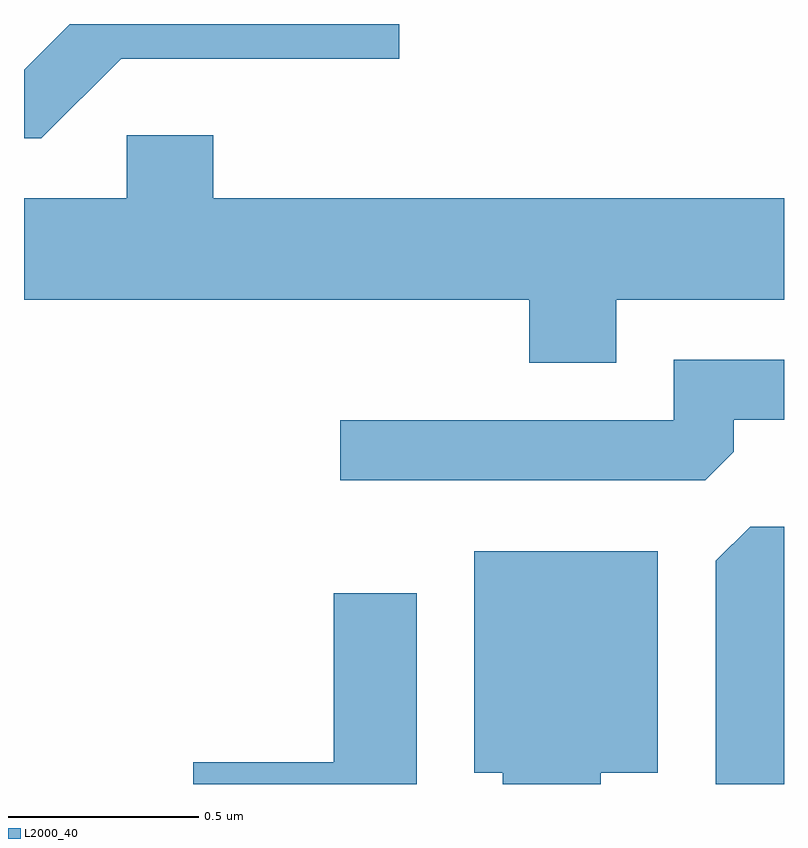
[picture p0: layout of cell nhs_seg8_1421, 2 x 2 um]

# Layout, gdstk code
import gdstk
lib = gdstk.Library(unit=1e-6, precision=1e-09)
def P(c, l, *ps):  # polygons
    for p in ps: c.add(gdstk.Polygon(p, *l))
L2000_40 = (2000, 40)

nhs_seg8_1421 = lib.new_cell('nhs_seg8_1421')
P(nhs_seg8_1421, L2000_40, [(195.867,1859.251),(196.599,1859.251),(196.599,1859.342),(195.732,1859.342),(195.611,1859.221),(195.611,1859.041),(195.657,1859.041)],
  [(197.169,1858.616),(197.611,1858.616),(197.611,1858.884),(196.109,1858.884),(196.109,1859.049),(195.881,1859.049),(195.881,1858.884),(195.611,1858.884),(195.611,1858.616),(196.941,1858.616),(196.941,1858.451),(197.169,1858.451)],
  [(197.479,1858.217),(197.479,1858.301),(197.611,1858.301),(197.611,1858.459),(197.321,1858.459),(197.321,1858.299),(196.443,1858.299),(196.443,1858.141),(197.404,1858.141)],
  [(197.611,1858.019),(197.522,1858.019),(197.431,1857.929),(197.431,1857.342),(197.611,1857.342)],
  [(197.129,1857.371),(197.279,1857.371),(197.279,1857.954),(196.796,1857.954),(196.796,1857.371),(196.871,1857.371),(196.871,1857.342),(197.129,1857.342)],
  [(196.644,1857.844),(196.426,1857.844),(196.426,1857.399),(196.056,1857.399),(196.056,1857.342),(196.644,1857.342)])

lib.write_gds('nhs_seg8_1421.gds')
